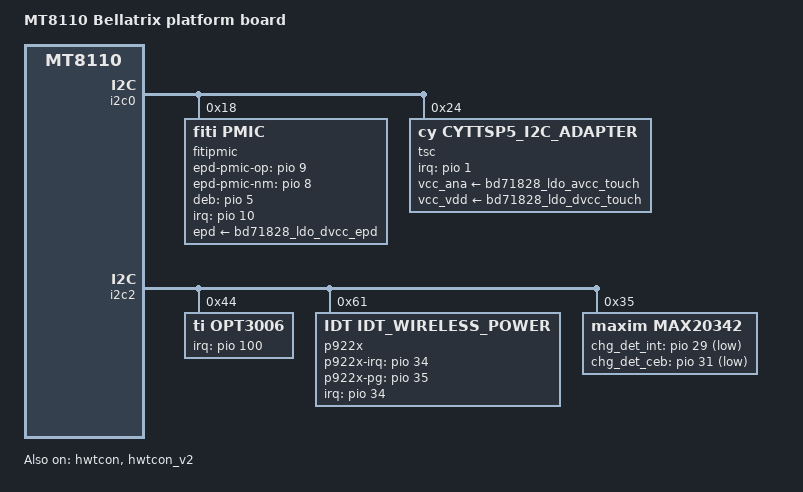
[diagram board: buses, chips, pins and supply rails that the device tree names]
/*
 * Copyright (c) 2020 Amazon.com Inc.
 *
 * SPDX-License-Identifier: (GPL-2.0 OR MIT)
 */

/dts-v1/;

#include "mt8110-bellatrix.dtsi"

/ {
	model = "MT8110 Bellatrix platform board";
};
&i2c0 {
	fitipmic: fiti@18 {
		compatible = "fiti,pmic";
		reg = <0x18>;
		vgh_ext = <0>;
		vgl_ext = <0>;
		xon_len = <2510>;
		xon_delay = <0>;
		vgh = <28000>;
		vgl = <20000>;
		vcom_setting = <1400>;
		vghnm_setting = <2900>;
		vghnm_ext = <1500>;
		vpos = <15000>;
		vneg = <15000>;
		epd-pmic-en = <&bd71828 1 0>;
		epd-pmic-op = <&pio 9 0>;
		epd-pmic-nm = <&pio 8 0>;
		interrupt-parent = <&pio>;
		interrupts = <10 IRQ_TYPE_LEVEL_HIGH>;
		deb-gpios = <&pio 5 0>;
		debounce = <16>;
		epd-supply = <&bd71828_ldo_dvcc_epd>;
		pinctrl-names = "active", "inactive";
		pinctrl-0 = <&fiti_pins_active>;
		pinctrl-1 = <&fiti_pins_inactive>;
		status = "okay";
	};

	tsc@24 {
		compatible = "cy,cyttsp5_i2c_adapter";
		pinctrl-names = "default", "sleep";
		pinctrl-0 = <&touch_sensor_pins_default>;
		pinctrl-1 = <&touch_sensor_pins_sleep>;
		reg = <0x24>;

		/* GPIO 1, high-to-low edge triggered */
		interrupts = <1 2>;
		interrupt-parent = <&pio>;
		cy,adapter_id = "cyttsp5_i2c_adapter";
		vcc_ana-supply = <&bd71828_ldo_avcc_touch>;
		vcc_vdd-supply = <&bd71828_ldo_dvcc_touch>;

		cy,core {
			cy,name = "cyttsp5_core";

			cy,irq_gpio = <&pio 1 0>;
			cy,rst_gpio = <&pio 0 0>;
			cy,hid_desc_register = <1>;
			/*CY_CORE_FLAG_RESTORE_PARAMETERS */
			cy,flags = <6>;
			/* CY_CORE_EWG_NONE */
			cy,easy_wakeup_gesture = <0>;

			/* Firmare Board Prefix */
			cy,fw_board_prefix = "malbec";

			cy,mt {
				cy,name = "cyttsp5_mt";

				cy,inp_dev_name = "cyttsp5_mt";
	/* CY_MT_FLAG_FLIP | CY_MT_FLAG_INV_X | CY_MT_FLAG_INV_Y */
				cy,flags = <0x30>;
				cy,abs =
	/* ABS_MT_POSITION_X, CY_ABS_MIN_X, CY_ABS_MAX_X, 0, 0 */
					<0x35 0 880 0 0
	/* ABS_MT_POSITION_Y, CY_ABS_MIN_Y, CY_ABS_MAX_Y, 0, 0 */
					0x36 0 1280 0 0
	/* ABS_MT_PRESSURE, CY_ABS_MIN_P, CY_ABS_MAX_P, 0, 0 */
					0x3a 0 255 0 0
	/* CY_IGNORE_VALUE, CY_ABS_MIN_W, CY_ABS_MAX_W, 0, 0 */
					0xffff 0 255 0 0
	/* ABS_MT_TRACKING_ID, CY_ABS_MIN_T, CY_ABS_MAX_T, 0, 0 */
					0x39 0 15 0 0
	/* ABS_MT_TOUCH_MAJOR, 0, 255, 0, 0 */
					0x30 0 255 0 0
	/* ABS_MT_TOUCH_MINOR, 0, 255, 0, 0 */
					0x31 0 255 0 0
	/* ABS_MT_ORIENTATION, -127, 127, 0, 0 */
					0x34 0xffffff81 127 0 0
	/* ABS_MT_TOOL_TYPE, 0, MT_TOOL_MAX, 0, 0 */
					0x37 0 1 0 0
	/* ABS_MT_DISTANCE, 0, 255, 0, 0 */
					0x3b 0 255 0 0>;

				cy,vkeys_x = <720>;
				cy,vkeys_y = <1280>;

				cy,virtual_keys =
				/* KeyCode CenterX CenterY Width Height */
					/* KEY_BACK */
					<158 1360 90 160 180
					/* KEY_MENU */
					139 1360 270 160 180
					/* KEY_HOMEPAGE */
					172 1360 450 160 180
					/* KEY SEARCH */
					217 1360 630 160 180>;
			};
		};
	};

};

&i2c2 {
	opt3006@44 {
		compatible = "ti,opt3006";
		pinctrl-names = "default", "sleep";
		pinctrl-0 = <&opt3006_pins_default>;
		pinctrl-1 = <&opt3006_pins_default>;
		reg = <0x44>;
		interrupt-parent = <&pio>;
		interrupts = <100 IRQ_TYPE_EDGE_FALLING>;
	};

	p922x@61 {
		compatible = "IDT,idt_wireless_power";
		reg = <0x61>;
		interrupt-parent = <&pio>;
		interrupts = <34 IRQ_TYPE_EDGE_FALLING 35 IRQ_TYPE_EDGE_RISING>;

		wpc-mivr = <4500000 4500000>;
		wpc-switch-voltage = <4500 5000 5500 8500 9000 9500>;
		bpp-5w-fod = /bits/ 8 <151 47 148 33 149 23 148 21
					148 21 149 21 254 127 0 0>;
		bpp-10w-fod = /bits/ 8 <254 127 254 127 254 127 254 127
					254 127 254 127 254 127 0 0>;

		pinctrl-names = "wpc_en_default", "wpc_en0", "wpc_en1",
					"sleep_en_default", "sleep_en0", "sleep_en1";
		pinctrl-0 = <&wpc_en_default>;
		pinctrl-1 = <&wpc_en0>;
		pinctrl-2 = <&wpc_en1>;
		pinctrl-3 = <&sleep_en_default>;
		pinctrl-4 = <&sleep_en0>;
		pinctrl-5 = <&sleep_en1>;

		p922x-irq = <&pio 34 0>;
		p922x-pg = <&pio 35 0>;

		wpc-hardware-config = <1>;
		status = "okay";
	};

	max20342: max20342@35 {
		compatible = "maxim,max20342";
		interrupt-parent = <&pio>;
		interrupt-controller;
		pinctrl-names = "default";
		pinctrl-0 = <&max20342_chg_det_pins_default>;
		chg_det_int = <&pio 29 GPIO_ACTIVE_LOW>;
		chg_det_ceb = <&pio 31 GPIO_ACTIVE_LOW>;
		reg = <0x35>;
		status = "okay";
	};
};

&hwtcon {
	status = "okay";
	pinctrl-names = "active","inactive";
	pinctrl-0 = <&hwtcon_pins_active>;
	pinctrl-1 = <&hwtcon_pins_inactive>;
	epd{
		panel_dpi_clk = <66600000>;
		panel_width = <1264>;
		panel_height = <1680>;
		panel_area_w = <107>;
		panel_area_h = <142>;
		panel_waveform_type = <4>;
		panel_output_8bit = <0>;
		panel_tcon0 = <6 1686 57 67 0 1 0 0>;
		panel_tcon1 = <6 1686 7 43 0 0 0 0>;
		panel_tcon2 = <5 1688 7 7 4 0 1 7>;
		panel_tcon3 = <1 1690 49 417 0 0 0 0>;
		panel_tcon4 = <0 0 0 0 0 0 0 0>;
		panel_tcon5 = <2 3 256 272 4 1 1 7>;
		panel_dpi = <18 48 7 2 11 4 1>;
		panel_material_type = <4>;
		modify_wf_mode_counter = <1280>;
		status = "okay";
	};
};

&hwtcon_v2 {
	status = "okay";
	pinctrl-names = "active","inactive";
	pinctrl-0 = <&hwtcon_pins_active>;
	pinctrl-1 = <&hwtcon_pins_inactive>;
	epd{
		panel_dpi_clk = <66600000>;
		panel_width = <1264>;
		panel_height = <1680>;
		panel_area_w = <107>;
		panel_area_h = <142>;
		panel_waveform_type = <4>;
		panel_output_8bit = <0>;
		panel_tcon0 = <6 1686 57 67 0 1 0 0>;
		panel_tcon1 = <6 1686 7 43 0 0 0 0>;
		panel_tcon2 = <5 1688 7 7 4 0 1 7>;
		panel_tcon3 = <1 1690 49 417 0 0 0 0>;
		panel_tcon4 = <1 2 7 7 4 1 1 7>;
		panel_tcon5 = <2 3 256 272 4 1 1 7>;
		panel_dpi = <18 48 7 2 11 4 1>;
		panel_material_type = <4>;
		modify_wf_mode_counter = <1280>;
		status = "okay";
	};
};

&pio {
	pinctrl-names = "default";

	opt3006_pins_default: opt3006_default {
		pins_cmd_dat {
			pinmux = <MT8512_PIN_100_DMIC0_DAT0__FUNC_GPIO100>;
			input-enable;
			bias-disable;
		};
	};

	touch_sensor_pins_default: touchsensordefault {
		pins_rst {
			pinmux = <MT8512_PIN_0_GPIO0__FUNC_GPIO0>;  /*TOUCH_RST*/
			bias-pull-down;
		};
		pins_int {
			pinmux = <MT8512_PIN_1_GPIO1__FUNC_GPIO1>;  /*TOUCH_INT*/
			input-enable;
			bias-pull-up;
		};
	};

	touch_sensor_pins_sleep: touchsensorsleep {
		pins_rst {
			pinmux = <MT8512_PIN_0_GPIO0__FUNC_GPIO0>;  /*TOUCH_RST*/
			bias-pull-down;
		};
		pins_int {
			pinmux = <MT8512_PIN_1_GPIO1__FUNC_GPIO1>;  /*TOUCH_INT*/
			input-disable;
			bias-pull-down;
		};
	};

	wpc_en_default: wpc_en_default {
		pins_cmd_dat {
			pinmux = <MT8512_PIN_34_SOC2WAN_RESET__FUNC_GPIO34>;
			input-enable;
			bias-pull-up;
		};
	};

	wpc_en0: wpc_en0 {
		pins_cmd_dat {
			pinmux = <MT8512_PIN_34_SOC2WAN_RESET__FUNC_GPIO34>;
			input-enable;
			bias-pull-up;
		};
	};

	wpc_en1: wpc_en1 {
		pins_cmd_dat {
			pinmux = <MT8512_PIN_34_SOC2WAN_RESET__FUNC_GPIO34>;
			input-enable;
			bias-pull-up;
		};
	};

	sleep_en_default: sleep_en_default {
		pins_cmd_dat {
			pinmux = <MT8512_PIN_35_WAN_FM_RDY__FUNC_GPIO35>;
			input-enable;
			bias-pull-down;
		};
	};

	sleep_en0: sleep_en0 {
		pins_cmd_dat {
			pinmux = <MT8512_PIN_35_WAN_FM_RDY__FUNC_GPIO35>;
			input-enable;
			bias-pull-down;
		};
	};

	sleep_en1: sleep_en1 {
		pins_cmd_dat {
			pinmux = <MT8512_PIN_35_WAN_FM_RDY__FUNC_GPIO35>;
			input-enable;
			bias-pull-down;
		};
	};

	max20342_chg_det_pins_default: max20342_chg_det_pins_default {
		pins_cmd_dat {
			pinmux = <MT8512_PIN_29_CHG_IRQ__FUNC_GPIO29>,
					<MT8512_PIN_31_CHG_CEB__FUNC_GPIO31>;
			input-enable;
			bias-disable;
		};
	};
};
